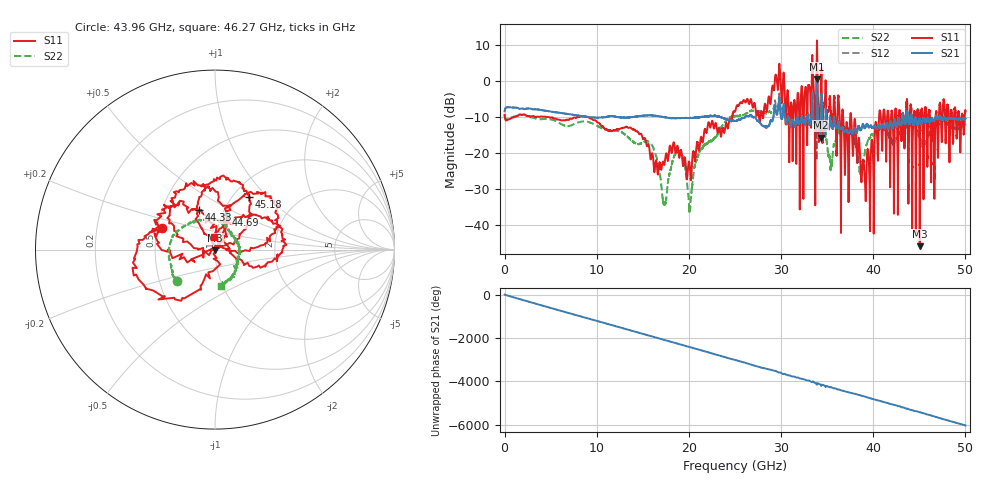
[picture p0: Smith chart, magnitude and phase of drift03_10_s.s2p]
!Created with skrf (http://scikit-rf.org).
# Hz S RI R 50.0
!freq ReS11 ImS11 ReS21 ImS21 ReS12 ImS12 ReS22 ImS22
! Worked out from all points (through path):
!   10001 points, 300 kHz to 50 GHz, reference 50 ohm
!   highest |S21| = 0.41 dB at 33.9 GHz (marker M1); lowest = -15.8 dB at 34.32 GHz (marker M2)
!   group delay of S21, straight-line fit = 335 ps
!   lowest |S11| = -46.0 dB at 45.05 GHz (marker M3), VSWR 1.01, Z = 50.2 - j0.472 ohm
!   |S11| at or under -10 dB: 4.476 GHz to 7.944 GHz (3.468 GHz wide, 55.8 % of centre); 9.005 GHz to 24.7 GHz (15.69 GHz wide, 93.1 % of centre); 37.61 GHz to 40.63 GHz (3.025 GHz wide, 7.73 % of centre) (the widest 3 of 66)
!   |S22| runs from -36.5 to -5.9 dB; largest |S21 - S12| = 0.11
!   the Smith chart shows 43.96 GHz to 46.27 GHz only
!   S11 on the Smith chart (normalised r, x): 43.96 GHz: 0.53, +0.14; 44.33 GHz: 0.76, +0.36; 44.69 GHz: 1.04, +0.42; 45.18 GHz: 1.18, +0.80; 46.27 GHz: 0.98, +0.14
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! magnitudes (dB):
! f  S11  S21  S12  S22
! 300 kHz  -9.4  -8.5  -8.5  -9.4
! 8.335 GHz  -9.9  -9.8  -9.8  -11.4
! 16.67 GHz  -25.6  -9.8  -9.8  -23.6
! 17.36 GHz  -23.2  -10.1  -10.1  -34.3
! 19.04 GHz  -20.4  -10.3  -10.4  -19.9
! 20.11 GHz  -23.9  -10.3  -10.3  -35.1
! 25 GHz  -8.6  -11.1  -11.1  -9.8
! 31.08 GHz  -6.1  -12.7  -12.7  -10.5
! 33.34 GHz  0.2  -7.7  -7.8  -9.6
! 33.9 GHz  10.9  0.4  0.0  -19.1
! 34.32 GHz  -2.8  -15.8  -15.1  -11.4
! 35.33 GHz  -6.0  -10.5  -10.0  -24.2
! 36.7 GHz  -8.3  -13.4  -13.1  -13.0
! 38.99 GHz  -23.9  -12.6  -12.8  -22.3
! 41.67 GHz  -9.9  -13.4  -13.3  -14.9
! 43.96 GHz  -10.0  -11.6  -11.8  -11.3
! 44.33 GHz  -12.5  -12.2  -12.2  -11.8
! 44.69 GHz  -14.0  -11.6  -11.7  -13.4
! 45.05 GHz  -46.0  -10.6  -10.7  -15.4
! 45.18 GHz  -9.1  -11.8  -11.8  -16.9
! 46.27 GHz  -22.7  -10.9  -10.9  -13.8
! 50 GHz  -8.5  -10.5  -10.5  -12.1
